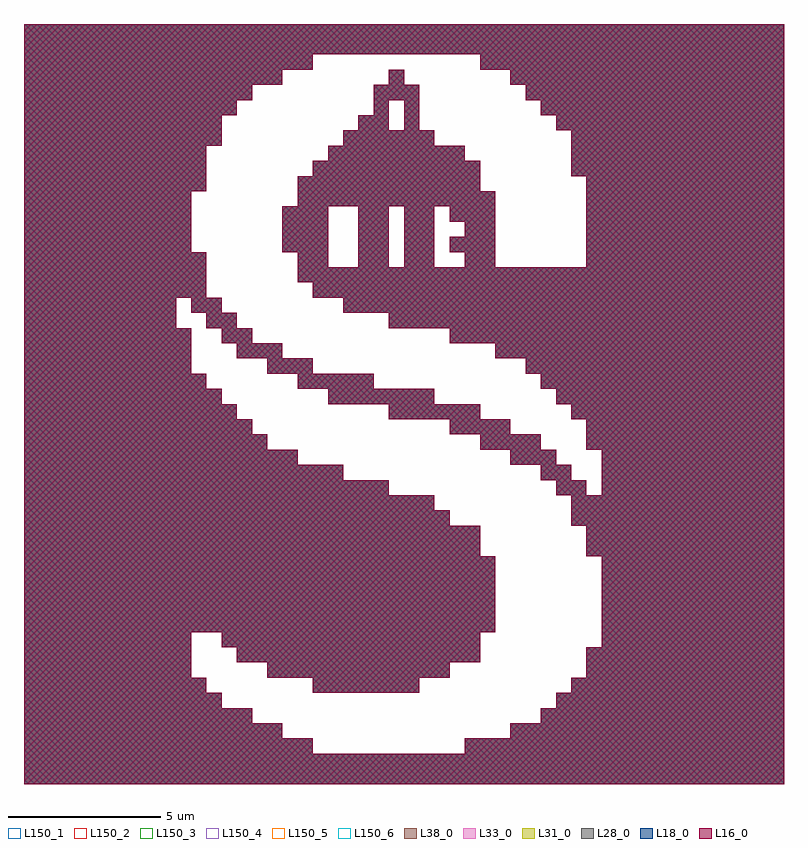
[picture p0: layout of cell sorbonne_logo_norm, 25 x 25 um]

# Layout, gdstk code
import gdstk
lib = gdstk.Library(unit=1e-6, precision=1e-09)
def R(c, l, rs):  # rectangles x0, y0, x1, y1
    for r in rs: c.add(gdstk.rectangle(r[:2], r[2:], *l))
def A(c, l, x, y, w, h, nx, ny, dx, dy):  # array of equal rectangles
    R(c, l, [(x+i*dx, y+j*dy, x+i*dx+w, y+j*dy+h) for i in range(nx) for j in range(ny)])
L16_0 = (16, 0)
L18_0 = (18, 0)
L28_0 = (28, 0)
L31_0 = (31, 0)
L33_0 = (33, 0)
L38_0 = (38, 0)
L150_1 = (150, 1)
L150_2 = (150, 2)
L150_3 = (150, 3)
L150_4 = (150, 4)
L150_5 = (150, 5)
L150_6 = (150, 6)

sorbonne_logo_norm = lib.new_cell('sorbonne_logo_norm')
A(sorbonne_logo_norm, L16_0, -12.5, -9, 5.5, 0.5, 1, 3, 0, 0.5)
A(sorbonne_logo_norm, L16_0, 6.5, -8, 6, 0.5, 1, 6, 0, 0.5)
A(sorbonne_logo_norm, L16_0, -12.5, -7.5, 15.5, 0.5, 1, 5, 0, 0.5)
A(sorbonne_logo_norm, L16_0, 6.5, -3, 6, 0.5, 1, 3, 0, 0.5)
A(sorbonne_logo_norm, L16_0, -12.5, 1, 5.5, 0.5, 1, 3, 0, 0.5)
A(sorbonne_logo_norm, L16_0, -12.5, 3.5, 6, 0.5, 1, 3, 0, 0.5)
A(sorbonne_logo_norm, L16_0, -1.5, 4.5, 1, 0.5, 1, 4, 0, 0.5)
A(sorbonne_logo_norm, L16_0, 0, 4.5, 1, 0.5, 1, 4, 0, 0.5)
A(sorbonne_logo_norm, L16_0, 6, 4.5, 6.5, 0.5, 1, 6, 0, 0.5)
A(sorbonne_logo_norm, L16_0, -12.5, 5, 5.5, 0.5, 1, 4, 0, 0.5)
A(sorbonne_logo_norm, L16_0, -4, 5, 1.5, 0.5, 1, 3, 0, 0.5)
A(sorbonne_logo_norm, L16_0, -12.5, 7, 6, 0.5, 1, 3, 0, 0.5)
A(sorbonne_logo_norm, L16_0, 5.5, 7.5, 7, 0.5, 1, 3, 0, 0.5)
R(sorbonne_logo_norm, L16_0, [(-12.5,-12.5,12.5,-12), (-12.5,-12,12.5,-11.5), (-12.5,-11.5,-3,-11), (2,-11.5,12.5,-11), (-12.5,-11,-4,-10.5), (3.5,-11,12.5,-10.5), (-12.5,-10.5,-5,-10), (4.5,-10.5,12.5,-10), (-12.5,-10,-6,-9.5), (5,-10,12.5,-9.5), (-12.5,-9.5,-6.5,-9), (-3,-9.5,0.5,-9), (5.5,-9.5,12.5,-9), (-4.5,-9,1.5,-8.5), (6,-9,12.5,-8.5), (-5.5,-8.5,2.5,-8), (6,-8.5,12.5,-8), (-6,-8,2.5,-7.5), (-12.5,-5,2.5,-4.5), (6,-5,12.5,-4.5), (-12.5,-4.5,2.5,-4), (6,-4.5,12.5,-4), (-12.5,-4,1.5,-3.5), (5.5,-4,12.5,-3.5), (-12.5,-3.5,1,-3), (5.5,-3.5,12.5,-3), (-12.5,-3,-0.5,-2.5), (5,-3,6,-2.5), (-12.5,-2.5,-2,-2), (4.5,-2.5,5.5,-2), (-12.5,-2,-3.5,-1.5), (3.5,-2,5,-1.5), (-12.5,-1.5,-4.5,-1), (2.5,-1.5,4.5,-1), (6,-1.5,12.5,-1), (-12.5,-1,-5,-0.5), (1.5,-1,3.5,-0.5), (6,-1,12.5,-0.5), (-12.5,-0.5,-5.5,0), (-0.5,-0.5,2.5,0), (5.5,-0.5,12.5,0), (-12.5,0,-6,0.5), (-2.5,0,1,0.5), (5,0,12.5,0.5), (-12.5,0.5,-6.5,1), (-3.5,0.5,-1,1), (4.5,0.5,12.5,1), (-4.5,1,-3,1.5), (4,1,12.5,1.5), (-5.5,1.5,-4,2), (3,1.5,12.5,2), (-6,2,-5,2.5), (1.5,2,12.5,2.5), (-12.5,2.5,-7.5,3), (-6.5,2.5,-5.5,3), (-0.5,2.5,12.5,3), (-12.5,3,-7.5,3.5), (-7,3,-6,3.5), (-2,3,12.5,3.5), (-3,3.5,12.5,4), (-3.5,4,12.5,4.5), (-3.5,4.5,-2.5,5), (2,4.5,3,5), (1.5,5,3,5.5), (2,5.5,3,6), (1.5,6,3,6.5), (-3.5,6.5,3,7), (-3.5,7,2.5,7.5), (-3,7.5,2.5,8), (-2.5,8,2,8.5), (-12.5,8.5,-6,9), (-2,8.5,1,9), (-12.5,9,-6,9.5), (-1.5,9,-0.5,9.5), (0,9,0.5,9.5), (5,9,12.5,9.5), (-12.5,9.5,-5.5,10), (-1,9.5,-0.5,10), (0,9.5,0.5,10), (4.5,9.5,12.5,10), (-12.5,10,-5,10.5), (-1,10,0.5,10.5), (4,10,12.5,10.5), (-12.5,10.5,-4,11), (-0.5,10.5,0,11), (3.5,10.5,12.5,11), (-12.5,11,-3,11.5), (2.5,11,12.5,11.5), (-12.5,11.5,12.5,12), (-12.5,12,12.5,12.5)])
A(sorbonne_logo_norm, L18_0, -12.5, -9, 5.5, 0.5, 1, 3, 0, 0.5)
A(sorbonne_logo_norm, L18_0, 6.5, -8, 6, 0.5, 1, 6, 0, 0.5)
A(sorbonne_logo_norm, L18_0, -12.5, -7.5, 15.5, 0.5, 1, 5, 0, 0.5)
A(sorbonne_logo_norm, L18_0, 6.5, -3, 6, 0.5, 1, 3, 0, 0.5)
A(sorbonne_logo_norm, L18_0, -12.5, 1, 5.5, 0.5, 1, 3, 0, 0.5)
A(sorbonne_logo_norm, L18_0, -12.5, 3.5, 6, 0.5, 1, 3, 0, 0.5)
A(sorbonne_logo_norm, L18_0, -1.5, 4.5, 1, 0.5, 1, 4, 0, 0.5)
A(sorbonne_logo_norm, L18_0, 0, 4.5, 1, 0.5, 1, 4, 0, 0.5)
A(sorbonne_logo_norm, L18_0, 6, 4.5, 6.5, 0.5, 1, 6, 0, 0.5)
A(sorbonne_logo_norm, L18_0, -12.5, 5, 5.5, 0.5, 1, 4, 0, 0.5)
A(sorbonne_logo_norm, L18_0, -4, 5, 1.5, 0.5, 1, 3, 0, 0.5)
A(sorbonne_logo_norm, L18_0, -12.5, 7, 6, 0.5, 1, 3, 0, 0.5)
A(sorbonne_logo_norm, L18_0, 5.5, 7.5, 7, 0.5, 1, 3, 0, 0.5)
R(sorbonne_logo_norm, L18_0, [(-12.5,-12.5,12.5,-12), (-12.5,-12,12.5,-11.5), (-12.5,-11.5,-3,-11), (2,-11.5,12.5,-11), (-12.5,-11,-4,-10.5), (3.5,-11,12.5,-10.5), (-12.5,-10.5,-5,-10), (4.5,-10.5,12.5,-10), (-12.5,-10,-6,-9.5), (5,-10,12.5,-9.5), (-12.5,-9.5,-6.5,-9), (-3,-9.5,0.5,-9), (5.5,-9.5,12.5,-9), (-4.5,-9,1.5,-8.5), (6,-9,12.5,-8.5), (-5.5,-8.5,2.5,-8), (6,-8.5,12.5,-8), (-6,-8,2.5,-7.5), (-12.5,-5,2.5,-4.5), (6,-5,12.5,-4.5), (-12.5,-4.5,2.5,-4), (6,-4.5,12.5,-4), (-12.5,-4,1.5,-3.5), (5.5,-4,12.5,-3.5), (-12.5,-3.5,1,-3), (5.5,-3.5,12.5,-3), (-12.5,-3,-0.5,-2.5), (5,-3,6,-2.5), (-12.5,-2.5,-2,-2), (4.5,-2.5,5.5,-2), (-12.5,-2,-3.5,-1.5), (3.5,-2,5,-1.5), (-12.5,-1.5,-4.5,-1), (2.5,-1.5,4.5,-1), (6,-1.5,12.5,-1), (-12.5,-1,-5,-0.5), (1.5,-1,3.5,-0.5), (6,-1,12.5,-0.5), (-12.5,-0.5,-5.5,0), (-0.5,-0.5,2.5,0), (5.5,-0.5,12.5,0), (-12.5,0,-6,0.5), (-2.5,0,1,0.5), (5,0,12.5,0.5), (-12.5,0.5,-6.5,1), (-3.5,0.5,-1,1), (4.5,0.5,12.5,1), (-4.5,1,-3,1.5), (4,1,12.5,1.5), (-5.5,1.5,-4,2), (3,1.5,12.5,2), (-6,2,-5,2.5), (1.5,2,12.5,2.5), (-12.5,2.5,-7.5,3), (-6.5,2.5,-5.5,3), (-0.5,2.5,12.5,3), (-12.5,3,-7.5,3.5), (-7,3,-6,3.5), (-2,3,12.5,3.5), (-3,3.5,12.5,4), (-3.5,4,12.5,4.5), (-3.5,4.5,-2.5,5), (2,4.5,3,5), (1.5,5,3,5.5), (2,5.5,3,6), (1.5,6,3,6.5), (-3.5,6.5,3,7), (-3.5,7,2.5,7.5), (-3,7.5,2.5,8), (-2.5,8,2,8.5), (-12.5,8.5,-6,9), (-2,8.5,1,9), (-12.5,9,-6,9.5), (-1.5,9,-0.5,9.5), (0,9,0.5,9.5), (5,9,12.5,9.5), (-12.5,9.5,-5.5,10), (-1,9.5,-0.5,10), (0,9.5,0.5,10), (4.5,9.5,12.5,10), (-12.5,10,-5,10.5), (-1,10,0.5,10.5), (4,10,12.5,10.5), (-12.5,10.5,-4,11), (-0.5,10.5,0,11), (3.5,10.5,12.5,11), (-12.5,11,-3,11.5), (2.5,11,12.5,11.5), (-12.5,11.5,12.5,12), (-12.5,12,12.5,12.5)])
A(sorbonne_logo_norm, L28_0, -12.5, -9, 5.5, 0.5, 1, 3, 0, 0.5)
A(sorbonne_logo_norm, L28_0, 6.5, -8, 6, 0.5, 1, 6, 0, 0.5)
A(sorbonne_logo_norm, L28_0, -12.5, -7.5, 15.5, 0.5, 1, 5, 0, 0.5)
A(sorbonne_logo_norm, L28_0, 6.5, -3, 6, 0.5, 1, 3, 0, 0.5)
A(sorbonne_logo_norm, L28_0, -12.5, 1, 5.5, 0.5, 1, 3, 0, 0.5)
A(sorbonne_logo_norm, L28_0, -12.5, 3.5, 6, 0.5, 1, 3, 0, 0.5)
A(sorbonne_logo_norm, L28_0, -1.5, 4.5, 1, 0.5, 1, 4, 0, 0.5)
A(sorbonne_logo_norm, L28_0, 0, 4.5, 1, 0.5, 1, 4, 0, 0.5)
A(sorbonne_logo_norm, L28_0, 6, 4.5, 6.5, 0.5, 1, 6, 0, 0.5)
A(sorbonne_logo_norm, L28_0, -12.5, 5, 5.5, 0.5, 1, 4, 0, 0.5)
A(sorbonne_logo_norm, L28_0, -4, 5, 1.5, 0.5, 1, 3, 0, 0.5)
A(sorbonne_logo_norm, L28_0, -12.5, 7, 6, 0.5, 1, 3, 0, 0.5)
A(sorbonne_logo_norm, L28_0, 5.5, 7.5, 7, 0.5, 1, 3, 0, 0.5)
R(sorbonne_logo_norm, L28_0, [(-12.5,-12.5,12.5,-12), (-12.5,-12,12.5,-11.5), (-12.5,-11.5,-3,-11), (2,-11.5,12.5,-11), (-12.5,-11,-4,-10.5), (3.5,-11,12.5,-10.5), (-12.5,-10.5,-5,-10), (4.5,-10.5,12.5,-10), (-12.5,-10,-6,-9.5), (5,-10,12.5,-9.5), (-12.5,-9.5,-6.5,-9), (-3,-9.5,0.5,-9), (5.5,-9.5,12.5,-9), (-4.5,-9,1.5,-8.5), (6,-9,12.5,-8.5), (-5.5,-8.5,2.5,-8), (6,-8.5,12.5,-8), (-6,-8,2.5,-7.5), (-12.5,-5,2.5,-4.5), (6,-5,12.5,-4.5), (-12.5,-4.5,2.5,-4), (6,-4.5,12.5,-4), (-12.5,-4,1.5,-3.5), (5.5,-4,12.5,-3.5), (-12.5,-3.5,1,-3), (5.5,-3.5,12.5,-3), (-12.5,-3,-0.5,-2.5), (5,-3,6,-2.5), (-12.5,-2.5,-2,-2), (4.5,-2.5,5.5,-2), (-12.5,-2,-3.5,-1.5), (3.5,-2,5,-1.5), (-12.5,-1.5,-4.5,-1), (2.5,-1.5,4.5,-1), (6,-1.5,12.5,-1), (-12.5,-1,-5,-0.5), (1.5,-1,3.5,-0.5), (6,-1,12.5,-0.5), (-12.5,-0.5,-5.5,0), (-0.5,-0.5,2.5,0), (5.5,-0.5,12.5,0), (-12.5,0,-6,0.5), (-2.5,0,1,0.5), (5,0,12.5,0.5), (-12.5,0.5,-6.5,1), (-3.5,0.5,-1,1), (4.5,0.5,12.5,1), (-4.5,1,-3,1.5), (4,1,12.5,1.5), (-5.5,1.5,-4,2), (3,1.5,12.5,2), (-6,2,-5,2.5), (1.5,2,12.5,2.5), (-12.5,2.5,-7.5,3), (-6.5,2.5,-5.5,3), (-0.5,2.5,12.5,3), (-12.5,3,-7.5,3.5), (-7,3,-6,3.5), (-2,3,12.5,3.5), (-3,3.5,12.5,4), (-3.5,4,12.5,4.5), (-3.5,4.5,-2.5,5), (2,4.5,3,5), (1.5,5,3,5.5), (2,5.5,3,6), (1.5,6,3,6.5), (-3.5,6.5,3,7), (-3.5,7,2.5,7.5), (-3,7.5,2.5,8), (-2.5,8,2,8.5), (-12.5,8.5,-6,9), (-2,8.5,1,9), (-12.5,9,-6,9.5), (-1.5,9,-0.5,9.5), (0,9,0.5,9.5), (5,9,12.5,9.5), (-12.5,9.5,-5.5,10), (-1,9.5,-0.5,10), (0,9.5,0.5,10), (4.5,9.5,12.5,10), (-12.5,10,-5,10.5), (-1,10,0.5,10.5), (4,10,12.5,10.5), (-12.5,10.5,-4,11), (-0.5,10.5,0,11), (3.5,10.5,12.5,11), (-12.5,11,-3,11.5), (2.5,11,12.5,11.5), (-12.5,11.5,12.5,12), (-12.5,12,12.5,12.5)])
A(sorbonne_logo_norm, L31_0, -12.5, -9, 5.5, 0.5, 1, 3, 0, 0.5)
A(sorbonne_logo_norm, L31_0, 6.5, -8, 6, 0.5, 1, 6, 0, 0.5)
A(sorbonne_logo_norm, L31_0, -12.5, -7.5, 15.5, 0.5, 1, 5, 0, 0.5)
A(sorbonne_logo_norm, L31_0, 6.5, -3, 6, 0.5, 1, 3, 0, 0.5)
A(sorbonne_logo_norm, L31_0, -12.5, 1, 5.5, 0.5, 1, 3, 0, 0.5)
A(sorbonne_logo_norm, L31_0, -12.5, 3.5, 6, 0.5, 1, 3, 0, 0.5)
A(sorbonne_logo_norm, L31_0, -1.5, 4.5, 1, 0.5, 1, 4, 0, 0.5)
A(sorbonne_logo_norm, L31_0, 0, 4.5, 1, 0.5, 1, 4, 0, 0.5)
A(sorbonne_logo_norm, L31_0, 6, 4.5, 6.5, 0.5, 1, 6, 0, 0.5)
A(sorbonne_logo_norm, L31_0, -12.5, 5, 5.5, 0.5, 1, 4, 0, 0.5)
A(sorbonne_logo_norm, L31_0, -4, 5, 1.5, 0.5, 1, 3, 0, 0.5)
A(sorbonne_logo_norm, L31_0, -12.5, 7, 6, 0.5, 1, 3, 0, 0.5)
A(sorbonne_logo_norm, L31_0, 5.5, 7.5, 7, 0.5, 1, 3, 0, 0.5)
R(sorbonne_logo_norm, L31_0, [(-12.5,-12.5,12.5,-12), (-12.5,-12,12.5,-11.5), (-12.5,-11.5,-3,-11), (2,-11.5,12.5,-11), (-12.5,-11,-4,-10.5), (3.5,-11,12.5,-10.5), (-12.5,-10.5,-5,-10), (4.5,-10.5,12.5,-10), (-12.5,-10,-6,-9.5), (5,-10,12.5,-9.5), (-12.5,-9.5,-6.5,-9), (-3,-9.5,0.5,-9), (5.5,-9.5,12.5,-9), (-4.5,-9,1.5,-8.5), (6,-9,12.5,-8.5), (-5.5,-8.5,2.5,-8), (6,-8.5,12.5,-8), (-6,-8,2.5,-7.5), (-12.5,-5,2.5,-4.5), (6,-5,12.5,-4.5), (-12.5,-4.5,2.5,-4), (6,-4.5,12.5,-4), (-12.5,-4,1.5,-3.5), (5.5,-4,12.5,-3.5), (-12.5,-3.5,1,-3), (5.5,-3.5,12.5,-3), (-12.5,-3,-0.5,-2.5), (5,-3,6,-2.5), (-12.5,-2.5,-2,-2), (4.5,-2.5,5.5,-2), (-12.5,-2,-3.5,-1.5), (3.5,-2,5,-1.5), (-12.5,-1.5,-4.5,-1), (2.5,-1.5,4.5,-1), (6,-1.5,12.5,-1), (-12.5,-1,-5,-0.5), (1.5,-1,3.5,-0.5), (6,-1,12.5,-0.5), (-12.5,-0.5,-5.5,0), (-0.5,-0.5,2.5,0), (5.5,-0.5,12.5,0), (-12.5,0,-6,0.5), (-2.5,0,1,0.5), (5,0,12.5,0.5), (-12.5,0.5,-6.5,1), (-3.5,0.5,-1,1), (4.5,0.5,12.5,1), (-4.5,1,-3,1.5), (4,1,12.5,1.5), (-5.5,1.5,-4,2), (3,1.5,12.5,2), (-6,2,-5,2.5), (1.5,2,12.5,2.5), (-12.5,2.5,-7.5,3), (-6.5,2.5,-5.5,3), (-0.5,2.5,12.5,3), (-12.5,3,-7.5,3.5), (-7,3,-6,3.5), (-2,3,12.5,3.5), (-3,3.5,12.5,4), (-3.5,4,12.5,4.5), (-3.5,4.5,-2.5,5), (2,4.5,3,5), (1.5,5,3,5.5), (2,5.5,3,6), (1.5,6,3,6.5), (-3.5,6.5,3,7), (-3.5,7,2.5,7.5), (-3,7.5,2.5,8), (-2.5,8,2,8.5), (-12.5,8.5,-6,9), (-2,8.5,1,9), (-12.5,9,-6,9.5), (-1.5,9,-0.5,9.5), (0,9,0.5,9.5), (5,9,12.5,9.5), (-12.5,9.5,-5.5,10), (-1,9.5,-0.5,10), (0,9.5,0.5,10), (4.5,9.5,12.5,10), (-12.5,10,-5,10.5), (-1,10,0.5,10.5), (4,10,12.5,10.5), (-12.5,10.5,-4,11), (-0.5,10.5,0,11), (3.5,10.5,12.5,11), (-12.5,11,-3,11.5), (2.5,11,12.5,11.5), (-12.5,11.5,12.5,12), (-12.5,12,12.5,12.5)])
A(sorbonne_logo_norm, L33_0, -12.5, -9, 5.5, 0.5, 1, 3, 0, 0.5)
A(sorbonne_logo_norm, L33_0, 6.5, -8, 6, 0.5, 1, 6, 0, 0.5)
A(sorbonne_logo_norm, L33_0, -12.5, -7.5, 15.5, 0.5, 1, 5, 0, 0.5)
A(sorbonne_logo_norm, L33_0, 6.5, -3, 6, 0.5, 1, 3, 0, 0.5)
A(sorbonne_logo_norm, L33_0, -12.5, 1, 5.5, 0.5, 1, 3, 0, 0.5)
A(sorbonne_logo_norm, L33_0, -12.5, 3.5, 6, 0.5, 1, 3, 0, 0.5)
A(sorbonne_logo_norm, L33_0, -1.5, 4.5, 1, 0.5, 1, 4, 0, 0.5)
A(sorbonne_logo_norm, L33_0, 0, 4.5, 1, 0.5, 1, 4, 0, 0.5)
A(sorbonne_logo_norm, L33_0, 6, 4.5, 6.5, 0.5, 1, 6, 0, 0.5)
A(sorbonne_logo_norm, L33_0, -12.5, 5, 5.5, 0.5, 1, 4, 0, 0.5)
A(sorbonne_logo_norm, L33_0, -4, 5, 1.5, 0.5, 1, 3, 0, 0.5)
A(sorbonne_logo_norm, L33_0, -12.5, 7, 6, 0.5, 1, 3, 0, 0.5)
A(sorbonne_logo_norm, L33_0, 5.5, 7.5, 7, 0.5, 1, 3, 0, 0.5)
R(sorbonne_logo_norm, L33_0, [(-12.5,-12.5,12.5,-12), (-12.5,-12,12.5,-11.5), (-12.5,-11.5,-3,-11), (2,-11.5,12.5,-11), (-12.5,-11,-4,-10.5), (3.5,-11,12.5,-10.5), (-12.5,-10.5,-5,-10), (4.5,-10.5,12.5,-10), (-12.5,-10,-6,-9.5), (5,-10,12.5,-9.5), (-12.5,-9.5,-6.5,-9), (-3,-9.5,0.5,-9), (5.5,-9.5,12.5,-9), (-4.5,-9,1.5,-8.5), (6,-9,12.5,-8.5), (-5.5,-8.5,2.5,-8), (6,-8.5,12.5,-8), (-6,-8,2.5,-7.5), (-12.5,-5,2.5,-4.5), (6,-5,12.5,-4.5), (-12.5,-4.5,2.5,-4), (6,-4.5,12.5,-4), (-12.5,-4,1.5,-3.5), (5.5,-4,12.5,-3.5), (-12.5,-3.5,1,-3), (5.5,-3.5,12.5,-3), (-12.5,-3,-0.5,-2.5), (5,-3,6,-2.5), (-12.5,-2.5,-2,-2), (4.5,-2.5,5.5,-2), (-12.5,-2,-3.5,-1.5), (3.5,-2,5,-1.5), (-12.5,-1.5,-4.5,-1), (2.5,-1.5,4.5,-1), (6,-1.5,12.5,-1), (-12.5,-1,-5,-0.5), (1.5,-1,3.5,-0.5), (6,-1,12.5,-0.5), (-12.5,-0.5,-5.5,0), (-0.5,-0.5,2.5,0), (5.5,-0.5,12.5,0), (-12.5,0,-6,0.5), (-2.5,0,1,0.5), (5,0,12.5,0.5), (-12.5,0.5,-6.5,1), (-3.5,0.5,-1,1), (4.5,0.5,12.5,1), (-4.5,1,-3,1.5), (4,1,12.5,1.5), (-5.5,1.5,-4,2), (3,1.5,12.5,2), (-6,2,-5,2.5), (1.5,2,12.5,2.5), (-12.5,2.5,-7.5,3), (-6.5,2.5,-5.5,3), (-0.5,2.5,12.5,3), (-12.5,3,-7.5,3.5), (-7,3,-6,3.5), (-2,3,12.5,3.5), (-3,3.5,12.5,4), (-3.5,4,12.5,4.5), (-3.5,4.5,-2.5,5), (2,4.5,3,5), (1.5,5,3,5.5), (2,5.5,3,6), (1.5,6,3,6.5), (-3.5,6.5,3,7), (-3.5,7,2.5,7.5), (-3,7.5,2.5,8), (-2.5,8,2,8.5), (-12.5,8.5,-6,9), (-2,8.5,1,9), (-12.5,9,-6,9.5), (-1.5,9,-0.5,9.5), (0,9,0.5,9.5), (5,9,12.5,9.5), (-12.5,9.5,-5.5,10), (-1,9.5,-0.5,10), (0,9.5,0.5,10), (4.5,9.5,12.5,10), (-12.5,10,-5,10.5), (-1,10,0.5,10.5), (4,10,12.5,10.5), (-12.5,10.5,-4,11), (-0.5,10.5,0,11), (3.5,10.5,12.5,11), (-12.5,11,-3,11.5), (2.5,11,12.5,11.5), (-12.5,11.5,12.5,12), (-12.5,12,12.5,12.5)])
A(sorbonne_logo_norm, L38_0, -12.5, -9, 5.5, 0.5, 1, 3, 0, 0.5)
A(sorbonne_logo_norm, L38_0, 6.5, -8, 6, 0.5, 1, 6, 0, 0.5)
A(sorbonne_logo_norm, L38_0, -12.5, -7.5, 15.5, 0.5, 1, 5, 0, 0.5)
A(sorbonne_logo_norm, L38_0, 6.5, -3, 6, 0.5, 1, 3, 0, 0.5)
A(sorbonne_logo_norm, L38_0, -12.5, 1, 5.5, 0.5, 1, 3, 0, 0.5)
A(sorbonne_logo_norm, L38_0, -12.5, 3.5, 6, 0.5, 1, 3, 0, 0.5)
A(sorbonne_logo_norm, L38_0, -1.5, 4.5, 1, 0.5, 1, 4, 0, 0.5)
A(sorbonne_logo_norm, L38_0, 0, 4.5, 1, 0.5, 1, 4, 0, 0.5)
A(sorbonne_logo_norm, L38_0, 6, 4.5, 6.5, 0.5, 1, 6, 0, 0.5)
A(sorbonne_logo_norm, L38_0, -12.5, 5, 5.5, 0.5, 1, 4, 0, 0.5)
A(sorbonne_logo_norm, L38_0, -4, 5, 1.5, 0.5, 1, 3, 0, 0.5)
A(sorbonne_logo_norm, L38_0, -12.5, 7, 6, 0.5, 1, 3, 0, 0.5)
A(sorbonne_logo_norm, L38_0, 5.5, 7.5, 7, 0.5, 1, 3, 0, 0.5)
R(sorbonne_logo_norm, L38_0, [(-12.5,-12.5,12.5,-12), (-12.5,-12,12.5,-11.5), (-12.5,-11.5,-3,-11), (2,-11.5,12.5,-11), (-12.5,-11,-4,-10.5), (3.5,-11,12.5,-10.5), (-12.5,-10.5,-5,-10), (4.5,-10.5,12.5,-10), (-12.5,-10,-6,-9.5), (5,-10,12.5,-9.5), (-12.5,-9.5,-6.5,-9), (-3,-9.5,0.5,-9), (5.5,-9.5,12.5,-9), (-4.5,-9,1.5,-8.5), (6,-9,12.5,-8.5), (-5.5,-8.5,2.5,-8), (6,-8.5,12.5,-8), (-6,-8,2.5,-7.5), (-12.5,-5,2.5,-4.5), (6,-5,12.5,-4.5), (-12.5,-4.5,2.5,-4), (6,-4.5,12.5,-4), (-12.5,-4,1.5,-3.5), (5.5,-4,12.5,-3.5), (-12.5,-3.5,1,-3), (5.5,-3.5,12.5,-3), (-12.5,-3,-0.5,-2.5), (5,-3,6,-2.5), (-12.5,-2.5,-2,-2), (4.5,-2.5,5.5,-2), (-12.5,-2,-3.5,-1.5), (3.5,-2,5,-1.5), (-12.5,-1.5,-4.5,-1), (2.5,-1.5,4.5,-1), (6,-1.5,12.5,-1), (-12.5,-1,-5,-0.5), (1.5,-1,3.5,-0.5), (6,-1,12.5,-0.5), (-12.5,-0.5,-5.5,0), (-0.5,-0.5,2.5,0), (5.5,-0.5,12.5,0), (-12.5,0,-6,0.5), (-2.5,0,1,0.5), (5,0,12.5,0.5), (-12.5,0.5,-6.5,1), (-3.5,0.5,-1,1), (4.5,0.5,12.5,1), (-4.5,1,-3,1.5), (4,1,12.5,1.5), (-5.5,1.5,-4,2), (3,1.5,12.5,2), (-6,2,-5,2.5), (1.5,2,12.5,2.5), (-12.5,2.5,-7.5,3), (-6.5,2.5,-5.5,3), (-0.5,2.5,12.5,3), (-12.5,3,-7.5,3.5), (-7,3,-6,3.5), (-2,3,12.5,3.5), (-3,3.5,12.5,4), (-3.5,4,12.5,4.5), (-3.5,4.5,-2.5,5), (2,4.5,3,5), (1.5,5,3,5.5), (2,5.5,3,6), (1.5,6,3,6.5), (-3.5,6.5,3,7), (-3.5,7,2.5,7.5), (-3,7.5,2.5,8), (-2.5,8,2,8.5), (-12.5,8.5,-6,9), (-2,8.5,1,9), (-12.5,9,-6,9.5), (-1.5,9,-0.5,9.5), (0,9,0.5,9.5), (5,9,12.5,9.5), (-12.5,9.5,-5.5,10), (-1,9.5,-0.5,10), (0,9.5,0.5,10), (4.5,9.5,12.5,10), (-12.5,10,-5,10.5), (-1,10,0.5,10.5), (4,10,12.5,10.5), (-12.5,10.5,-4,11), (-0.5,10.5,0,11), (3.5,10.5,12.5,11), (-12.5,11,-3,11.5), (2.5,11,12.5,11.5), (-12.5,11.5,12.5,12), (-12.5,12,12.5,12.5)])
R(sorbonne_logo_norm, L150_1, [(-12.5,-12.5,12.5,12.5)])
R(sorbonne_logo_norm, L150_2, [(-12.5,-12.5,12.5,12.5)])
R(sorbonne_logo_norm, L150_3, [(-12.5,-12.5,12.5,12.5)])
R(sorbonne_logo_norm, L150_4, [(-12.5,-12.5,12.5,12.5)])
R(sorbonne_logo_norm, L150_5, [(-12.5,-12.5,12.5,12.5)])
R(sorbonne_logo_norm, L150_6, [(-12.5,-12.5,12.5,12.5)])

lib.write_gds('sorbonne_logo_norm.gds')
